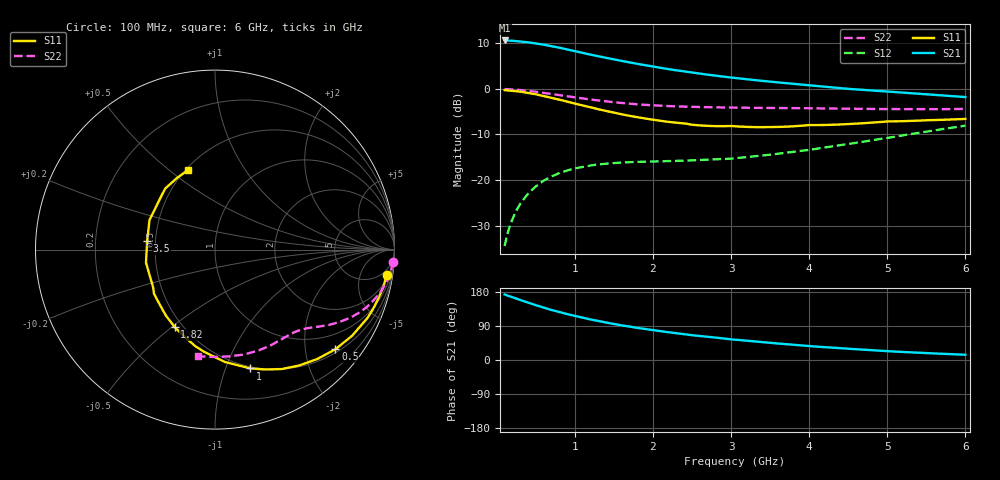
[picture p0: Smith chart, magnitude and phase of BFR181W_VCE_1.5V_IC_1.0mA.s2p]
! Infineon Technologies  Discrete & RF Semiconductors
! BFR181W
! VCE =  1.5 V,  IC =  1.0 mA
! Common Emitter S-Parameters:  Nov 2015
# GHz  S  MA  R  50
!  f  S11  S21  S12  S22
! GHz  MAG  ANG  MAG  ANG  MAG  ANG  MAG  ANG
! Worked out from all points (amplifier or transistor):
!   192 points, 100 MHz to 6 GHz, reference 50 ohm
!   highest |S21| = 10.6 dB at 100 MHz (marker M1)
!   |S21| within 3 dB of that: start of sweep to 1.17 GHz
!   unconditionally stable (mu >= 1): 2.499 GHz to 3.944 GHz
!   at 440 MHz: K = 0.20, MSG = 16.2 dB, |S12| = -22.3 dB
!   at 1.7 GHz: K = 0.75, MSG = 10.9 dB, |S12| = -16.1 dB
!   at 6 GHz: K = 0.79, MSG = 3.1 dB, |S12| = -8.1 dB
!   S11 on the Smith chart (normalised r, x): 100 MHz: 3, -13; 500 MHz: 0.58, -2.67; 1 GHz: 0.48, -1.22; 1.82 GHz: 0.45, -0.51; 3.5 GHz: 0.45, +0.05; 6 GHz: 0.52, +0.59
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0.1  0.9671 -8.3  3.384 172.9  0.0189 84.6  0.9933 -3.9
0.165  0.9574 -13.6  3.369 168.0  0.0311 81.3  0.988 -6.4
0.26  0.9391 -21.2  3.326 161.2  0.048 76.6  0.9757 -9.9
0.4  0.9023 -32.1  3.234 151.3  0.0708 70.3  0.95 -14.8
0.5  0.8711 -39.6  3.14 144.7  0.0853 65.8  0.9272 -17.9
0.6  0.8345 -46.9  3.044 138.3  0.0986 61.9  0.9031 -20.9
0.7  0.7979 -54.0  2.932 132.0  0.1097 58.2  0.878 -23.5
0.8  0.763 -60.7  2.824 126.4  0.1192 55.1  0.8528 -25.9
0.9  0.7239 -67.3  2.696 121.1  0.1275 52.1  0.829 -27.9
1  0.6908 -73.4  2.593 116.2  0.1344 49.5  0.8056 -29.9
1.1  0.6563 -78.9  2.471 111.8  0.1396 47.2  0.7841 -31.6
1.2  0.6285 -85.0  2.366 106.9  0.145 45.0  0.7633 -33.3
1.4  0.572 -96.2  2.184 98.7  0.1515 41.8  0.7276 -36.0
1.6  0.5255 -106.5  2.02 91.3  0.1559 39.9  0.6992 -38.3
1.82  0.4856 -117.6  1.864 84.1  0.1584 38.8  0.6734 -40.6
2.08  0.4477 -129.9  1.706 76.6  0.1606 38.6  0.6536 -43.3
2.5  0.4039 -148.5  1.504 65.4  0.1648 40.1  0.6341 -47.3
3.1  0.3863 -172.8  1.299 52.8  0.1753 45.5  0.6211 -54.3
3.5  0.381 172.8  1.198 45.1  0.1898 49.7  0.6174 -59.6
4.1  0.4005 152.6  1.074 35.2  0.2211 54.4  0.6102 -68.2
5.1  0.4401 127.0  0.921 22.2  0.2993 57.5  0.5986 -84.3
6  0.4682 108.4  0.812 13.8  0.3947 54.6  0.6022 -99.1
